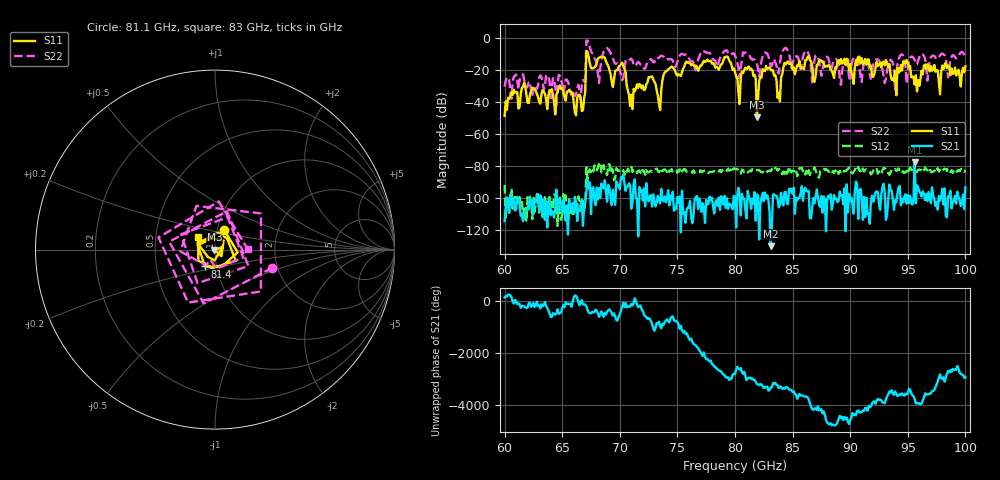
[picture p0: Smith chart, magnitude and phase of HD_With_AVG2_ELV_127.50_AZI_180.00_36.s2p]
! 11/25/2026 10:28:04 AM
! C:\ANRITSUVNA\TEMP\TEMP.S2P
! CHANNEL.1
! TR.MEASUREMENT
! RAW.DATA
# HZ S RI R 50.0
! FREQ.HZ  S11RE  S11IM  S21RE  S21IM  S12RE  S12IM  S22RE  S22IM
!; PortSelection: Port_12
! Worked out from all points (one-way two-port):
!   401 points, 60 GHz to 100 GHz, reference 50 ohm
!   highest |S21| = -77.66 dB at 95.6 GHz (marker M1); lowest = -130.0 dB at 83.1 GHz (marker M2)
!   lowest |S11| = -49.6 dB at 81.9 GHz (marker M3), VSWR 1.01, Z = 49.7 - j0.0309 ohm
!   |S11| at or under -10 dB: start of sweep to 67.09 GHz; 67.24 GHz to end of sweep
!   |S22| runs from -42.9 to -1.7 dB; largest |S21 - S12| = 0.00024
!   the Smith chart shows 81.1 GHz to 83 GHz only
!   S11 on the Smith chart (normalised r, x): 81.1 GHz: 1.08, +0.24; 81.4 GHz: 0.88, -0.17; 83 GHz: 0.82, +0.12
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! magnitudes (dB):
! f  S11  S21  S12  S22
! 60 GHz  -48.8  -114.3  -91.8  -30.5
! 61.6 GHz  -30.6  -114.3  -110.3  -22.8
! 66.7 GHz  -45.7  -101.1  -104.0  -29.5
! 67.3 GHz  -12.1  -94.0  -83.4  -3.2
! 68.4 GHz  -11.8  -91.0  -83.9  -14.7
! 70.3 GHz  -17.5  -85.5  -82.7  -25.5
! 70.9 GHz  -42.6  -92.0  -83.3  -13.5
! 72.7 GHz  -24.4  -98.2  -82.9  -13.3
! 73.4 GHz  -41.2  -100.8  -84.0  -12.6
! 74.4 GHz  -18.6  -98.5  -83.1  -13.4
! 80 GHz  -21.2  -99.4  -81.8  -11.0
! 81.1 GHz  -18.4  -95.5  -84.1  -9.5
! 81.4 GHz  -19.3  -106.7  -83.4  -13.0
! 81.9 GHz  -49.6  -97.8  -82.6  -15.7
! 83 GHz  -18.4  -108.6  -82.8  -14.8
! 83.1 GHz  -20.2  -130.0  -83.2  -17.6
! 83.8 GHz  -34.5  -105.9  -81.7  -22.3
! 84.5 GHz  -15.5  -103.4  -84.7  -7.0
! 86.7 GHz  -17.6  -106.0  -82.4  -27.9
! 93.4 GHz  -16.4  -91.6  -85.6  -15.6
! 95.6 GHz  -29.2  -77.7  -79.0  -13.7
! 100 GHz  -17.9  -93.3  -82.5  -12.1
